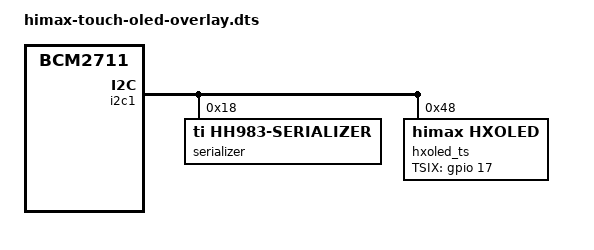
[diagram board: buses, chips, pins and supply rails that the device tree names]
/*
 * Device Tree Overlay for the Himax HX8530 (OLED-OTS 17.3") touch controller
 * behind a TI DS90UB983 serializer + DS90UB984 deserializer on Raspberry Pi 4.
 *
 * The HX8530 sits on the 984's SECOND local I2C bus (Port 1), physically at
 * 0x49; the hh983-serializer driver (config_mode=0 ots_touch=1) programs a
 * 983 target-alias so it appears to the host at 0x48. This overlay binds the
 * dedicated single-IC driver (himax_oled, compatible "himax,hxoled") to 0x48.
 *
 * Enable in /boot/firmware/config.txt (OTS-OLED board ONLY - do NOT also
 * enable dtoverlay=himax-touch, which binds the multi-chip himax_mmi):
 *   dtoverlay=hh983-serializer
 *   dtoverlay=himax-touch-oled
 * and in /etc/modprobe.d: options hh983-serializer config_mode=0 ots_touch=1
 */

/dts-v1/;
/plugin/;

/ {
	compatible = "brcm,bcm2711";

	fragment@0 {
		target = <&i2c1>;
		__overlay__ {
			#address-cells = <1>;
			#size-cells = <0>;

			/* TI HH983 serializer */
			serializer@18 {
				compatible = "ti,hh983-serializer";
				reg = <0x18>;
				status = "okay";
			};

			/* Himax HX8530 TDDI touch (routed to host 0x48 via the 984 Port 1) */
			hxoled_ts@48 {
				compatible = "himax,hxoled";
				reg = <0x48>;
				status = "okay";
				report_type = <1>;
				himax,TSIX = <&gpio 17 0>; /* GPIO17 = touch interrupt (983 REM_INTB) */
				/* The controller's touch origin is the corner
				 * opposite the display's, so both axes are
				 * mirrored (measured: display top-left reads
				 * as 2879,1619).
				 */
				touchscreen-inverted-x;
				touchscreen-inverted-y;
			};
		};
	};

	/* GPIO17 as input with pull-up */
	fragment@1 {
		target = <&gpio>;
		__overlay__ {
			hxoled_pins: hxoled_pins {
				brcm,pins = <17>;
				brcm,function = <0>;
				brcm,pull = <2>;
			};
		};
	};
};
